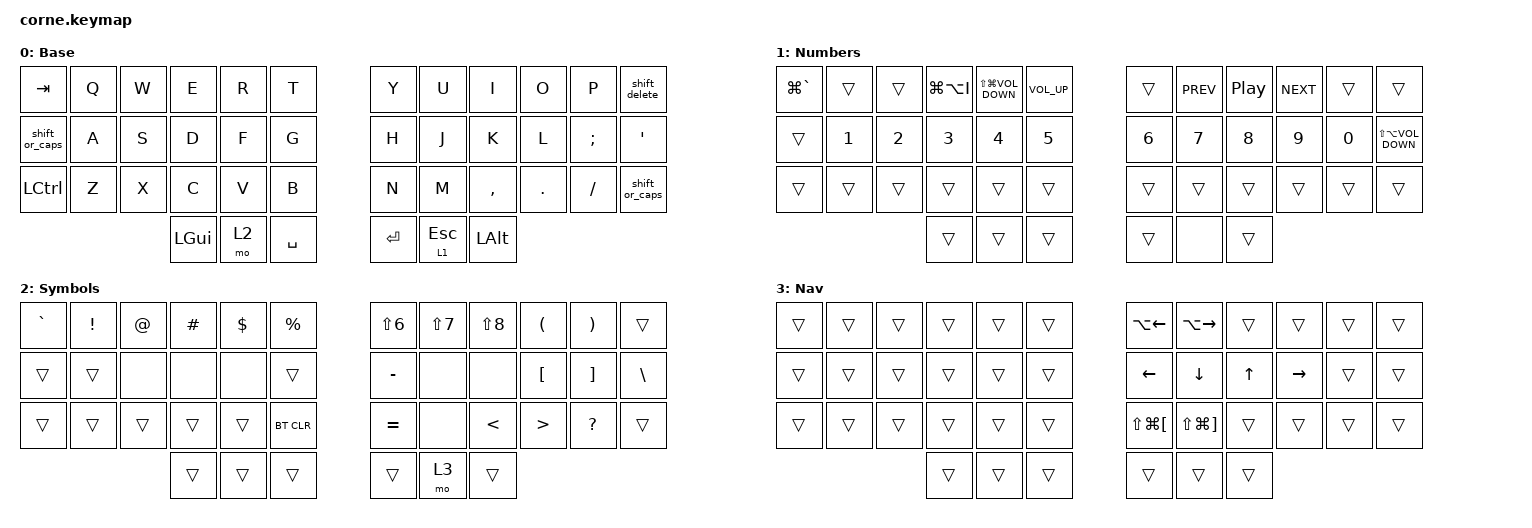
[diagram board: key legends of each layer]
/*
 * Copyright (c) 2020 The ZMK Contributors
 *
 * SPDX-License-Identifier: MIT
 */

#include <behaviors.dtsi>
#include <dt-bindings/zmk/bt.h>
#include <dt-bindings/zmk/keys.h>

&mt {
};

&lt {
};

/ {
    behaviors {
        shift_or_caps: shift_or_caps {
            compatible = "zmk,behavior-tap-dance";
            label = "SHIFT_OR_CAPS";
            #binding-cells = <0>;
            bindings = <&kp LEFT_SHIFT>, <&kp CAPS>;

            tapping-term-ms = <300>;
        };

        layer_dance: layer_dance {
            compatible = "zmk,behavior-tap-dance";
            label = "LAYER_DANCE";
            #binding-cells = <0>;
            bindings = <&mo 2>, <&mo 1>;
        };

        shift_delete: shift_delete {
            compatible = "zmk,behavior-mod-morph";
            label = "SHIFT_DELETE";
            bindings = <&kp BACKSPACE>, <&kp DEL>;

            #binding-cells = <0>;
            mods = <(MOD_LSFT|MOD_RSFT)>;
        };

        shift_left_parenthesis: shift_left_parenthesis {
            compatible = "zmk,behavior-mod-morph";
            label = "SHIFT_LEFT_PARENTHESIS";
            bindings = <&kp LEFT_PARENTHESIS>, <&kp LEFT_BRACE>;

            #binding-cells = <0>;
            mods = <(MOD_LSFT|MOD_RSFT)>;
        };

        shift_right_parenthesis: shift_right_parenthesis {
            compatible = "zmk,behavior-mod-morph";
            label = "SHIFT_RIGHT_PARENTHESIS";
            bindings = <&kp RIGHT_PARENTHESIS>, <&kp RIGHT_BRACE>;

            #binding-cells = <0>;
            mods = <(MOD_LSFT|MOD_RSFT)>;
        };

        shift_parenthesis: shift_parenthesis {
            compatible = "zmk,behavior-mod-morph";
            label = "SHIFT_PARENTHESIS";
            bindings = <&kp LEFT_PARENTHESIS>, <&kp RIGHT_PARENTHESIS>;

            #binding-cells = <0>;
            mods = <(MOD_LSFT|MOD_RSFT)>;
        };

        shift_brace: shift_brace {
            compatible = "zmk,behavior-mod-morph";
            label = "SHIFT_BRACE";
            bindings = <&kp LEFT_BRACE>, <&kp RIGHT_BRACE>;

            #binding-cells = <0>;
            mods = <(MOD_LSFT|MOD_RSFT)>;
        };

        shift_bracket: shift_bracket {
            compatible = "zmk,behavior-mod-morph";
            label = "SHIFT_BRACKET";
            bindings = <&kp LEFT_BRACKET>, <&kp RIGHT_BRACKET>;

            #binding-cells = <0>;
            mods = <(MOD_LSFT|MOD_RSFT)>;
        };
    };

    keymap {
        compatible = "zmk,keymap";

        default_layer {
            // -----------------------------------------------------------------------------------------
            // |  TAB |  Q  |  W  |  E  |  R  |  T  |   |  Y  |  U   |  I  |  O  |  P  | BKSP |
            // | CTRL |  A  |  S  |  D  |  F  |  G  |   |  H  |  J   |  K  |  L  |  ;  |  '   |
            // | SHFT |  Z  |  X  |  C  |  V  |  B  |   |  N  |  M   |  ,  |  .  |  /  | ESC  |
            //                    | GUI | LWR | SPC |   | ENT | RSE  | ALT |

            label = "Base";
            bindings = <
&kp TAB         &kp Q  &kp W  &kp E         &kp R  &kp T        &kp Y      &kp U      &kp I         &kp O    &kp P     &shift_delete
&shift_or_caps  &kp A  &kp S  &kp D         &kp F  &kp G        &kp H      &kp J      &kp K         &kp L    &kp SEMI  &kp SQT
&kp LCTRL       &kp Z  &kp X  &kp C         &kp V  &kp B        &kp N      &kp M      &kp COMMA     &kp DOT  &kp FSLH  &shift_or_caps
                              &kp LEFT_GUI  &mo 2  &kp SPACE    &kp ENTER  &lt 1 ESC  &kp LEFT_ALT
            >;
        };

        num_layer {
            // -----------------------------------------------------------------------------------------
            // |  TAB |  1  |  2  |  3  |  4  |  5  |   |  6  |  7  |  8  |  9  |  0  | BKSP |
            // | BTCLR| BT1 | BT2 | BT3 | BT4 | BT5 |   | LFT | DWN |  UP | RGT |     |      |
            // | SHFT |     |     |     |     |     |   |     |     |     |     |     |      |
            //                    | GUI |     | SPC |   | ENT |     | ALT |

            bindings = <
&kp LG(GRAVE)  &trans  &trans  &kp LG(LA(I))  &kp LS(LG(C_VOLUME_DOWN))  &kp C_VOLUME_UP    &trans  &kp C_PREV  &kp C_PP  &kp C_NEXT  &trans  &trans
&trans         &kp N1  &kp N2  &kp N3         &kp N4                     &kp N5             &kp N6  &kp N7      &kp N8    &kp N9      &kp N0  &kp LS(LA(C_VOLUME_DOWN))
&trans         &trans  &trans  &trans         &trans                     &trans             &trans  &trans      &trans    &trans      &trans  &trans
                               &trans         &trans                     &trans             &trans  &none       &trans
            >;

            label = "Numbers";
        };

        symbols_layer {
            // -----------------------------------------------------------------------------------------
            // |  TAB |  !  |  @  |  #  |  $  |  %  |   |  ^  |  &  |  *  |  (  |  )  | BKSP |
            // | CTRL |     |     |     |     |     |   |  -  |  =  |  [  |  ]  |  \  |  `   |
            // | SHFT |     |     |     |     |     |   |  _  |  +  |  {  |  }  | "|" |  ~   |
            //                    | GUI |     | SPC |   | ENT |     | ALT |

            label = "Symbols";
            bindings = <
&kp GRAVE  &kp EXCL  &kp AT  &kp HASH  &kp DLLR  &kp PRCNT     &kp LS(N6)  &kp LS(N7)  &kp LS(N8)     &kp LEFT_PARENTHESIS  &kp RIGHT_PARENTHESIS  &trans
&trans     &trans    &none   &none     &none     &trans        &kp MINUS   &none       &none          &kp LEFT_BRACKET      &kp RIGHT_BRACKET      &kp BACKSLASH
&trans     &trans    &trans  &trans    &trans    &bt BT_CLR    &kp EQUAL   &none       &kp LESS_THAN  &kp GREATER_THAN      &kp QUESTION           &trans
                             &trans    &trans    &trans        &trans      &mo 3       &trans
            >;
        };

        nav_layer {
            bindings = <
&trans  &trans  &trans  &trans  &trans  &trans    &kp LA(LEFT_ARROW)        &kp LA(RIGHT)              &trans  &trans     &trans  &trans
&trans  &trans  &trans  &trans  &trans  &trans    &kp LEFT                  &kp DOWN                   &kp UP  &kp RIGHT  &trans  &trans
&trans  &trans  &trans  &trans  &trans  &trans    &kp LS(LG(LEFT_BRACKET))  &kp LS(LG(RIGHT_BRACKET))  &trans  &trans     &trans  &trans
                        &trans  &trans  &trans    &trans                    &trans                     &trans
            >;

            label = "Nav";
        };
    };
};
